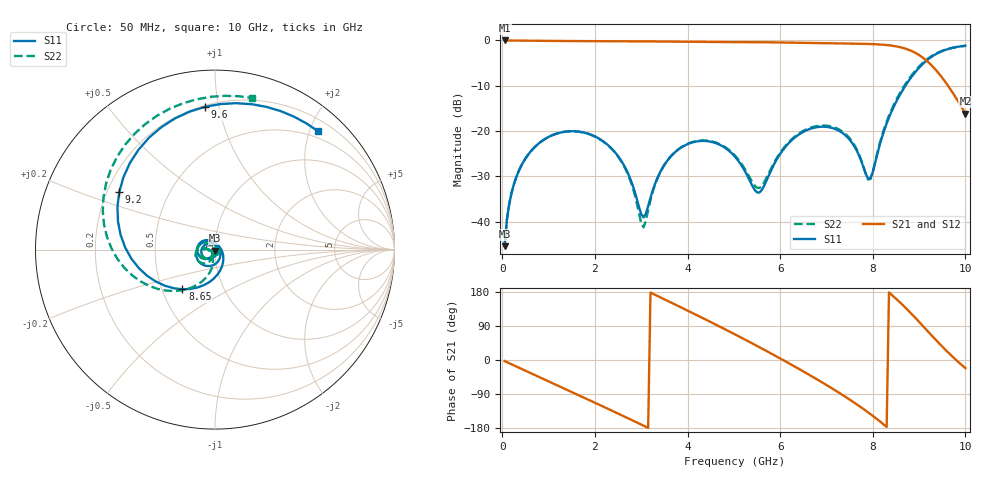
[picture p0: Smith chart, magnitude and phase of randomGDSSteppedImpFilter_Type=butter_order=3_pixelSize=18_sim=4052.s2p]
! freq	dB(S11)	phase(S11)	dB(S12)	phase(S12)
!  dB(S21)	phase(S21)	dB(S22)	phase(S22)
!S-par simulation data
#  GHz  S  DB  R 50
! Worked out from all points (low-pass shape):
!   200 points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, 50 MHz to 10 GHz, reference 50 ohm
!   highest |S21| = 0.00 dB at 50 MHz (marker M1); lowest = -16.1 dB at 10 GHz (marker M2)
!   |S21| within 3 dB of the highest: start of sweep to 8.965 GHz
!   lowest |S11| = -45.4 dB at 50 MHz (marker M3), VSWR 1.01, Z = 50 - j0.539 ohm
!   |S11| at or under -10 dB: start of sweep to 8.703 GHz
!   |S22| runs from -45.4 to -1.2 dB; largest |S21 - S12| = 0
!   S11 on the Smith chart (normalised r, x): 50 MHz: 1.00, -0.01; 8.65 GHz: 0.64, -0.31; 9.2 GHz: 0.25, +0.26; 9.6 GHz: 0.21, +0.91; 10 GHz: 0.38, +2.15
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0.05  -45.36 -90.9  -0.00 -2.9  -0.00 -2.9  -45.36 -90.7
0.2  -33.61 -101.2  -0.02 -11.4  -0.02 -11.4  -33.60 -100.4
0.55  -25.30 -122.7  -0.05 -31.1  -0.05 -31.1  -25.30 -120.5
1.15  -20.62 -158.3  -0.11 -64.8  -0.11 -64.8  -20.63 -153.4
1.75  -20.28 165.6  -0.15 -98.5  -0.15 -98.5  -20.30 174.7
2.55  -26.23 111.0  -0.18 -144.2  -0.18 -144.2  -26.37 136.6
3.05  -39.00 2.4  -0.21 -173.3  -0.21 -173.3  -41.23 -166.8
3.4  -29.23 -89.3  -0.24 166.1  -0.24 166.1  -29.27 -114.8
3.8  -24.07 -123.6  -0.29 142.4  -0.29 142.4  -24.01 -129.6
4.3  -22.16 -159.7  -0.33 112.4  -0.33 112.4  -22.06 -153.7
5.05  -25.94 138.8  -0.37 66.1  -0.37 66.1  -25.68 176.3
5.55  -33.56 31.8  -0.39 34.0  -0.39 34.0  -32.54 -144.2
6.15  -23.03 -78.7  -0.47 -6.0  -0.47 -6.0  -22.83 -114.7
6.7  -19.33 -128.5  -0.57 -44.2  -0.57 -44.2  -19.11 -141.4
7.35  -20.44 170.0  -0.68 -92.5  -0.68 -92.5  -20.14 -178.1
7.9  -30.50 54.4  -0.78 -138.2  -0.78 -138.2  -30.67 -156.0
8.35  -17.01 -84.8  -1.07 178.2  -1.07 178.2  -16.60 -105.4
8.65  -10.87 -129.5  -1.65 144.7  -1.65 144.7  -10.50 -130.2
8.95  -6.58 -173.9  -2.91 107.3  -2.91 107.3  -6.32 -162.7
9.2  -4.12 149.0  -4.81 74.2  -4.81 74.2  -3.95 167.1
9.6  -1.97 94.0  -9.62 23.1  -9.62 23.1  -1.94 119.0
10  -1.17 48.9  -16.12 -21.4  -16.12 -21.4  -1.21 76.1
